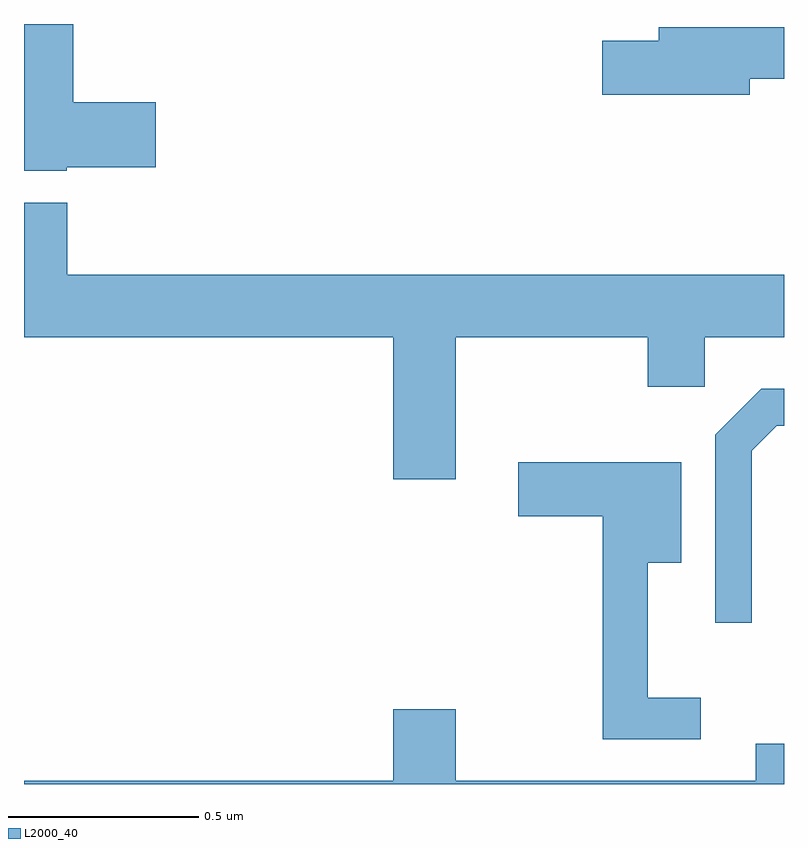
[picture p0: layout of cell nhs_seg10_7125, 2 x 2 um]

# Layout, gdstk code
import gdstk
lib = gdstk.Library(unit=1e-6, precision=1e-09)
def P(c, l, *ps):  # polygons
    for p in ps: c.add(gdstk.Polygon(p, *l))
L2000_40 = (2000, 40)

nhs_seg10_7125 = lib.new_cell('nhs_seg10_7125')
P(nhs_seg10_7125, L2000_40, [(200.112,1274.123),(200.347,1274.123),(200.347,1274.294),(200.129,1274.294),(200.129,1274.5),(200,1274.5),(200,1274.114),(200.112,1274.114)],
  [(201.91,1274.356),(202,1274.356),(202,1274.492),(201.671,1274.492),(201.671,1274.456),(201.522,1274.456),(201.522,1274.314),(201.91,1274.314)],
  [(201.136,1273.676),(201.641,1273.676),(201.641,1273.545),(201.792,1273.545),(201.792,1273.676),(202,1273.676),(202,1273.84),(200.114,1273.84),(200.114,1274.029),(200,1274.029),(200,1273.676),(200.972,1273.676),(200.972,1273.302),(201.136,1273.302)],
  [(201.915,1273.377),(201.981,1273.443),(202,1273.443),(202,1273.54),(201.94,1273.54),(201.819,1273.419),(201.819,1272.924),(201.915,1272.924)],
  [(201.781,1272.727),(201.641,1272.727),(201.641,1273.082),(201.73,1273.082),(201.73,1273.347),(201.3,1273.347),(201.3,1273.205),(201.523,1273.205),(201.523,1272.618),(201.781,1272.618)],
  [(202,1272.606),(201.926,1272.606),(201.926,1272.508),(201.136,1272.508),(201.136,1272.697),(200.972,1272.697),(200.972,1272.508),(200,1272.508),(200,1272.5),(202,1272.5)])

lib.write_gds('nhs_seg10_7125.gds')
